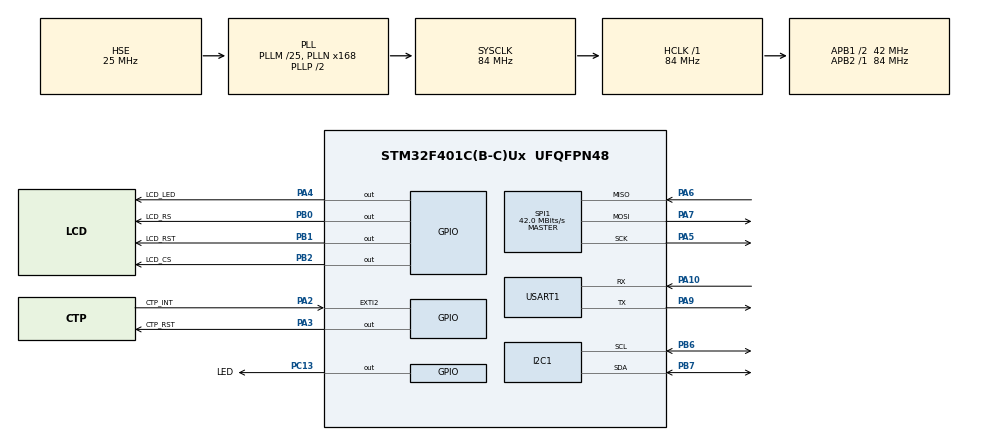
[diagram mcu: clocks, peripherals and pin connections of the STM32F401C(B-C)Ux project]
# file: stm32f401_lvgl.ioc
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Mcu.Family=STM32F4
Mcu.Name=STM32F401C(B-C)Ux
Mcu.Package=UFQFPN48
NVIC.PriorityGroup=NVIC_PRIORITYGROUP_4
NVIC.USART1_IRQn=true\:0\:0\:false\:false\:true\:true\:true\:true
PA10.Mode=Asynchronous
PA10.Signal=USART1_RX
PA2.GPIO_Label=CTP_INT
PA2.GPIO_ModeDefaultEXTI=GPIO_MODE_IT_FALLING
PA2.GPIO_PuPd=GPIO_PULLUP
PA2.Signal=GPXTI2
PA3.GPIO_Label=CTP_RST
PA3.Signal=GPIO_Output
PA4.GPIO_Label=LCD_LED
PA4.PinState=GPIO_PIN_SET
PA4.Signal=GPIO_Output
PA5.Mode=Full_Duplex_Master
PA5.Signal=SPI1_SCK
PA6.Mode=Full_Duplex_Master
PA6.Signal=SPI1_MISO
PA7.Mode=Full_Duplex_Master
PA7.Signal=SPI1_MOSI
PA9.Mode=Asynchronous
PA9.Signal=USART1_TX
PB0.GPIO_Label=LCD_RS
PB0.Signal=GPIO_Output
PB1.GPIO_Label=LCD_RST
PB1.Signal=GPIO_Output
PB2.GPIO_Label=LCD_CS
PB2.Signal=GPIO_Output
PB6.GPIO_Pu=GPIO_NOPULL
PB6.Mode=I2C
PB6.Signal=I2C1_SCL
PB7.GPIO_Pu=GPIO_NOPULL
PB7.Mode=I2C
PB7.Signal=I2C1_SDA
PC13-ANTI_TAMP.GPIO_Label=LED
PC13-ANTI_TAMP.Signal=GPIO_Output
PC14-OSC32_IN.Mode=LSE-External-Oscillator
PC14-OSC32_IN.Signal=RCC_OSC32_IN
PC15-OSC32_OUT.Mode=LSE-External-Oscillator
PC15-OSC32_OUT.Signal=RCC_OSC32_OUT
PH0\ -\ OSC_IN.Mode=HSE-External-Oscillator
PH0\ -\ OSC_IN.Signal=RCC_OSC_IN
PH1\ -\ OSC_OUT.Mode=HSE-External-Oscillator
PH1\ -\ OSC_OUT.Signal=RCC_OSC_OUT
ProjectManager.HeapSize=0x0
ProjectManager.StackSize=0x800
ProjectManager.TargetToolchain=MDK-ARM V5.32
RCC.48MHZClocksFreq_Value=42000000
RCC.AHBFreq_Value=84000000
RCC.APB1CLKDivider=RCC_HCLK_DIV2
RCC.APB1Freq_Value=42000000
RCC.APB1TimFreq_Value=84000000
RCC.APB2Freq_Value=84000000
RCC.APB2TimFreq_Value=84000000
RCC.CortexFreq_Value=84000000
RCC.HCLKFreq_Value=84000000
RCC.HSE_VALUE=25000000
RCC.HSI_VALUE=16000000
RCC.PLLM=25
RCC.PLLN=168
RCC.PLLSourceVirtual=RCC_PLLSOURCE_HSE
RCC.SYSCLKFreq_VALUE=84000000
RCC.SYSCLKSource=RCC_SYSCLKSOURCE_PLLCLK
RCC.VCOOutputFreq_Value=168000000
SPI1.BaudRatePrescaler=SPI_BAUDRATEPRESCALER_2
SPI1.CLKPhase=SPI_PHASE_2EDGE
SPI1.CLKPolarity=SPI_POLARITY_HIGH
SPI1.CalculateBaudRate=42.0 MBits/s
SPI1.Direction=SPI_DIRECTION_2LINES
SPI1.Mode=SPI_MODE_MASTER
SPI1.VirtualType=VM_MASTER
USART1.VirtualMode=VM_ASYNC
board=custom

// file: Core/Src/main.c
/* USER CODE BEGIN Header */
/**
  ******************************************************************************
  * @file           : main.c
  * @brief          : Main program body
  ******************************************************************************
  * @attention
  *
  * Copyright (c) 2024 STMicroelectronics.
  * All rights reserved.
  *
  * This software is licensed under terms that can be found in the LICENSE file
  * in the root directory of this software component.
  * If no LICENSE file comes with this software, it is provided AS-IS.
  *
  ******************************************************************************
  */
/* USER CODE END Header */
#include "main.h"
#include "i2c.h"
#include "spi.h"
#include "usart.h"
#include "gpio.h"

/* USER CODE BEGIN Includes */
#include "task_schedule.h"
#include "cm_backtrace.h"
#include "nr_micro_shell.h"
#include "tft_test.h"
#include "ili9341.h"
#include "touch.h"

#include "lvgl.h"                // 它为整个LVGL提供了更完整的头文件引用
#include "lv_port_disp.h"        // LVGL的显示支�?
#include "lv_port_indev.h"       // LVGL的触屏支�?
/* USER CODE END Includes */

void SystemClock_Config(void);

int main(void)
{

  /* MCU Configuration--------------------------------------------------------*/

  /* Reset of all peripherals, Initializes the Flash interface and the Systick. */
  HAL_Init();

  /* Configure the system clock */
  SystemClock_Config();

  /* Initialize all configured peripherals */
  MX_GPIO_Init();
  MX_SPI1_Init();
  MX_USART1_UART_Init();
  MX_I2C1_Init();
  /* USER CODE BEGIN 2 */
  printf("app start!\n");
  shell_init();
  cm_backtrace_init("CmBacktrace", "V1.0.0", "V1.0.0");
  HAL_UARTEx_ReceiveToIdle_IT(&huart1, shell_uart_buff, SHELL_BUFF_SIZE);

  LCD_Init();	   //液晶屏初始化
	if(tp_dev.init()) {
		printf("tp init fail!\n");
	}

	lv_init();                             // LVGL 初始�?
	lv_port_disp_init();                   // 注册LVGL的显示任�?
	lv_port_indev_init();                  // 注册LVGL的触屏检测任�?

  task_init();
	lvgl_test();

//   lcd_test();
//   touch_test();
  /* USER CODE END 2 */

  /* Infinite loop */
  while (1)
  {

    /* USER CODE BEGIN 3 */
    TaskSchedule();
  }
  /* USER CODE END 3 */
}

void SystemClock_Config(void)
{
  RCC_OscInitTypeDef RCC_OscInitStruct = {0};
  RCC_ClkInitTypeDef RCC_ClkInitStruct = {0};

  /** Configure the main internal regulator output voltage
  */
  __HAL_RCC_PWR_CLK_ENABLE();
  __HAL_PWR_VOLTAGESCALING_CONFIG(PWR_REGULATOR_VOLTAGE_SCALE2);

  /** Initializes the RCC Oscillators according to the specified parameters
  * in the RCC_OscInitTypeDef structure.
  */
  RCC_OscInitStruct.OscillatorType = RCC_OSCILLATORTYPE_HSE;
  RCC_OscInitStruct.HSEState = RCC_HSE_ON;
  RCC_OscInitStruct.PLL.PLLState = RCC_PLL_ON;
  RCC_OscInitStruct.PLL.PLLSource = RCC_PLLSOURCE_HSE;
  RCC_OscInitStruct.PLL.PLLM = 25;
  RCC_OscInitStruct.PLL.PLLN = 168;
  RCC_OscInitStruct.PLL.PLLP = RCC_PLLP_DIV2;
  RCC_OscInitStruct.PLL.PLLQ = 4;
  if (HAL_RCC_OscConfig(&RCC_OscInitStruct) != HAL_OK)
  {
    Error_Handler();
  }

  /** Initializes the CPU, AHB and APB buses clocks
  */
  RCC_ClkInitStruct.ClockType = RCC_CLOCKTYPE_HCLK|RCC_CLOCKTYPE_SYSCLK
                              |RCC_CLOCKTYPE_PCLK1|RCC_CLOCKTYPE_PCLK2;
  RCC_ClkInitStruct.SYSCLKSource = RCC_SYSCLKSOURCE_PLLCLK;
  RCC_ClkInitStruct.AHBCLKDivider = RCC_SYSCLK_DIV1;
  RCC_ClkInitStruct.APB1CLKDivider = RCC_HCLK_DIV2;
  RCC_ClkInitStruct.APB2CLKDivider = RCC_HCLK_DIV1;

  if (HAL_RCC_ClockConfig(&RCC_ClkInitStruct, FLASH_LATENCY_2) != HAL_OK)
  {
    Error_Handler();
  }
}

void Error_Handler(void)
{
  __disable_irq();
  while (1)
  {
  }
}
